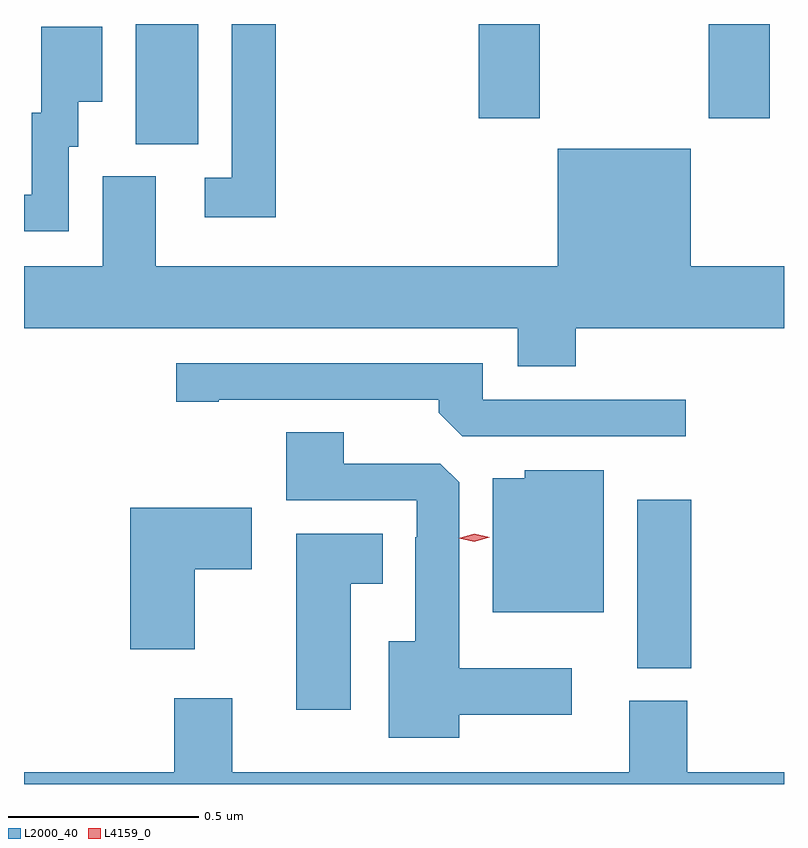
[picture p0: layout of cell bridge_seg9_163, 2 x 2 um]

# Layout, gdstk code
import gdstk
lib = gdstk.Library(unit=1e-6, precision=1e-09)
def R(c, l, rs):  # rectangles x0, y0, x1, y1
    for r in rs: c.add(gdstk.rectangle(r[:2], r[2:], *l))
def P(c, l, *ps):  # polygons
    for p in ps: c.add(gdstk.Polygon(p, *l))
L2000_40 = (2000, 40)
L4159_0 = (4159, 0)

bridge_seg9_163 = lib.new_cell('bridge_seg9_163')
R(bridge_seg9_163, L2000_40, [(287.45,1244.809,287.592,1245.253), (286.13,1246.189,286.294,1246.505), (287.033,1246.257,287.193,1246.505), (287.638,1246.257,287.798,1246.505)])
P(bridge_seg9_163, L2000_40, [(286.499,1246.505),(286.383,1246.505),(286.383,1246.101),(286.311,1246.101),(286.311,1245.996),(286.499,1245.996)],
  [(285.954,1246.182),(285.979,1246.182),(285.979,1246.301),(286.042,1246.301),(286.042,1246.498),(285.881,1246.498),(285.881,1246.272),(285.857,1246.272),(285.857,1246.056),(285.836,1246.056),(285.836,1245.96),(285.954,1245.96)],
  [(287.288,1245.704),(287.836,1245.704),(287.836,1245.868),(287.59,1245.868),(287.59,1246.177),(287.24,1246.177),(287.24,1245.868),(286.183,1245.868),(286.183,1246.104),(286.043,1246.104),(286.043,1245.868),(285.836,1245.868),(285.836,1245.704),(287.135,1245.704),(287.135,1245.605),(287.288,1245.605)],
  [(287.578,1245.516),(287.043,1245.516),(287.043,1245.612),(286.236,1245.612),(286.236,1245.511),(286.348,1245.511),(286.348,1245.516),(286.928,1245.516),(286.928,1245.482),(286.989,1245.42),(287.578,1245.42)],
  [(286.981,1244.687),(287.278,1244.687),(287.278,1244.809),(286.981,1244.809),(286.981,1245.299),(286.932,1245.348),(286.678,1245.348),(286.678,1245.431),(286.526,1245.431),(286.526,1245.252),(286.869,1245.252),(286.869,1245.155),(286.865,1245.155),(286.865,1244.881),(286.796,1244.881),(286.796,1244.627),(286.981,1244.627)],
  [(287.362,1245.331),(287.154,1245.331),(287.154,1245.31),(287.069,1245.31),(287.069,1244.957),(287.362,1244.957)],
  [(286.285,1245.07),(286.435,1245.07),(286.435,1245.232),(286.115,1245.232),(286.115,1244.859),(286.285,1244.859)],
  [(286.696,1245.032),(286.78,1245.032),(286.78,1245.163),(286.553,1245.163),(286.553,1244.7),(286.696,1244.7)],
  [(287.836,1244.536),(287.582,1244.536),(287.582,1244.724),(287.429,1244.724),(287.429,1244.536),(286.384,1244.536),(286.384,1244.731),(286.232,1244.731),(286.232,1244.536),(285.836,1244.536),(285.836,1244.505),(287.836,1244.505)])
P(bridge_seg9_163, L4159_0, [(287.021,1245.143),(286.98,1245.152),(286.98,1245.152),(286.98,1245.152),(287.021,1245.163),(287.062,1245.154),(287.062,1245.154),(287.062,1245.154)])

lib.write_gds('bridge_seg9_163.gds')
